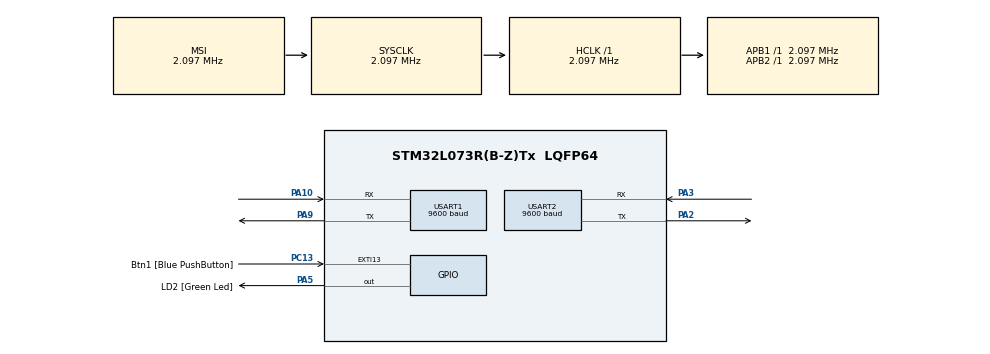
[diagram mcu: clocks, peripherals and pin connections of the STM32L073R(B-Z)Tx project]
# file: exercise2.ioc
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Mcu.Family=STM32L0
Mcu.Name=STM32L073R(B-Z)Tx
Mcu.Package=LQFP64
NVIC.EXTI4_15_IRQn=true\:0\:0\:false\:false\:true\:true
NVIC.USART1_IRQn=true\:0\:0\:false\:false\:true\:true
NVIC.USART2_IRQn=true\:0\:0\:false\:false\:true\:true
PA10.Mode=Asynchronous
PA10.Signal=USART1_RX
PA13.Mode=Serial_Wire
PA13.Signal=SYS_SWDIO
PA14.Mode=Serial_Wire
PA14.Signal=SYS_SWCLK
PA2.Mode=Asynchronous
PA2.Signal=USART2_TX
PA3.Mode=Asynchronous
PA3.Signal=USART2_RX
PA5.GPIO_Label=LD2 [Green Led]
PA5.Signal=GPIO_Output
PA9.Mode=Asynchronous
PA9.Signal=USART1_TX
PC13.GPIO_Label=Btn1 [Blue PushButton]
PC13.Signal=GPXTI13
PH0-OSC_IN.Mode=HSE-External-Oscillator
PH0-OSC_IN.Signal=RCC_OSC_IN
PH1-OSC_OUT.Mode=HSE-External-Oscillator
PH1-OSC_OUT.Signal=RCC_OSC_OUT
ProjectManager.HeapSize=0x200
ProjectManager.StackSize=0x400
ProjectManager.TargetToolchain=MDK-ARM V5
RCC.AHBFreq_Value=2097000
RCC.APB1Freq_Value=2097000
RCC.APB1TimFreq_Value=2097000
RCC.APB2Freq_Value=2097000
RCC.APB2TimFreq_Value=2097000
RCC.HCLKFreq_Value=2097000
RCC.HSE_VALUE=8000000
RCC.HSI16_VALUE=16000000
RCC.HSI48_VALUE=48000000
RCC.HSI_VALUE=16000000
RCC.LSE_VALUE=32768
RCC.MSI_VALUE=2097000
RCC.PLLDIV=RCC_PLLDIV_3
RCC.PLLSourceVirtual=RCC_PLLSOURCE_HSE
RCC.SYSCLKFreq_VALUE=2097000
RCC.VCOOutputFreq_Value=24000000
USART1.BaudRate=9600
USART1.VirtualMode-Asynchronous=VM_ASYNC
USART1.WordLength=WORDLENGTH_8B
USART2.BaudRate=9600
USART2.VirtualMode-Asynchronous=VM_ASYNC
USART2.WordLength=WORDLENGTH_8B
board=NUCLEO-L073RZ

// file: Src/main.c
/**
  ******************************************************************************
  * @file           : main.c
  * @brief          : Main program body
  ******************************************************************************
  ** This notice applies to any and all portions of this file
  * that are not between comment pairs USER CODE BEGIN and
  * USER CODE END. Other portions of this file, whether
  * inserted by the user or by software development tools
  * are owned by their respective copyright owners.
  *
  * COPYRIGHT(c) 2018 STMicroelectronics
  *
  * Redistribution and use in source and binary forms, with or without modification,
  * are permitted provided that the following conditions are met:
  *   1. Redistributions of source code must retain the above copyright notice,
  *      this list of conditions and the following disclaimer.
  *   2. Redistributions in binary form must reproduce the above copyright notice,
  *      this list of conditions and the following disclaimer in the documentation
  *      and/or other materials provided with the distribution.
  *   3. Neither the name of STMicroelectronics nor the names of its contributors
  *      may be used to endorse or promote products derived from this software
  *      without specific prior written permission.
  *
  * THIS SOFTWARE IS PROVIDED BY THE COPYRIGHT HOLDERS AND CONTRIBUTORS "AS IS"
  * AND ANY EXPRESS OR IMPLIED WARRANTIES, INCLUDING, BUT NOT LIMITED TO, THE
  * IMPLIED WARRANTIES OF MERCHANTABILITY AND FITNESS FOR A PARTICULAR PURPOSE ARE
  * DISCLAIMED. IN NO EVENT SHALL THE COPYRIGHT HOLDER OR CONTRIBUTORS BE LIABLE
  * FOR ANY DIRECT, INDIRECT, INCIDENTAL, SPECIAL, EXEMPLARY, OR CONSEQUENTIAL
  * DAMAGES (INCLUDING, BUT NOT LIMITED TO, PROCUREMENT OF SUBSTITUTE GOODS OR
  * SERVICES; LOSS OF USE, DATA, OR PROFITS; OR BUSINESS INTERRUPTION) HOWEVER
  * CAUSED AND ON ANY THEORY OF LIABILITY, WHETHER IN CONTRACT, STRICT LIABILITY,
  * OR TORT (INCLUDING NEGLIGENCE OR OTHERWISE) ARISING IN ANY WAY OUT OF THE USE
  * OF THIS SOFTWARE, EVEN IF ADVISED OF THE POSSIBILITY OF SUCH DAMAGE.
  *
  ******************************************************************************
  */
#include "main.h"
#include "stm32l0xx_hal.h"

UART_HandleTypeDef huart1;
UART_HandleTypeDef huart2;

/* USER CODE BEGIN PV */
/* Private variables ---------------------------------------------------------*/
static __IO ITStatus GPIO_Btn1_Pin_Pressed = RESET;               /* Set to 1 if GPIO Btn1_Pin pressed */
int LED_pattern = 0;

/* Buffer used for UART transmission */
uint8_t UART_txBuffer[] = "HELLO THERE";  //{1, 2, 3, 4, 5};

/* Buffer used for UART reception */
uint8_t UART_rxBuffer[UART_RXBUFFERSIZE];

static __IO ITStatus UART_txCompleteDetected = RESET;       /* Set to 1 if UART TX is completed */
static __IO ITStatus UART_rxCompleteDetected = RESET;       /* Set to 1 if UART RX is completed */
static __IO ITStatus UART_transErrorDetected = RESET;       /* Set to 1 if a UART error TX,RX is detected */

/* USER CODE END PV */

void SystemClock_Config(void);
static void MX_GPIO_Init(void);
static void MX_USART1_UART_Init(void);
static void MX_USART2_UART_Init(void);

/* USER CODE BEGIN PFP */
/* Private function prototypes -----------------------------------------------*/

/* USER CODE END PFP */

int main(void)
{

  /* MCU Configuration----------------------------------------------------------*/

  /* Reset of all peripherals, Initializes the Flash interface and the Systick. */
  HAL_Init();

  /* Configure the system clock */
  SystemClock_Config();

  /* Initialize all configured peripherals */
  MX_GPIO_Init();
  MX_USART1_UART_Init();
  MX_USART2_UART_Init();

  /* Infinite loop */
  /* USER CODE BEGIN WHILE */
  while (1)
  {
	  if (GPIO_Btn1_Pin_Pressed == SET)
	  {
		  GPIO_Btn1_Pin_Pressed = RESET;
		  HAL_GPIO_WritePin(LD2_GPIO_Port, LD2_Pin, GPIO_PIN_SET);
		  HAL_Delay(100);

		  /* While the UART in reception process, user can transmit data through "UART_txBuffer" buffer */
//		  if(HAL_UART_Transmit_IT(&huart1, (uint8_t*) UART_txBuffer, UART_TXBUFFERSIZE) != HAL_OK)
//		  {
//			  Error_Handler();
//		  }
//		  /*## Wait for the end of the TX transfer ##*/
//		  while (UART_txCompleteDetected != SET)
//		  {
//			  HAL_GPIO_TogglePin(LD2_GPIO_Port, LD2_Pin);
//			  HAL_Delay(100);
//			  HAL_GPIO_TogglePin(LD2_GPIO_Port, LD2_Pin);
//			  HAL_Delay(100);
//		  }
//		  UART_txCompleteDetected = RESET;

		  if(HAL_UART_Transmit_IT(&huart2, (uint8_t*) UART_txBuffer, UART_TXBUFFERSIZE) != HAL_OK)
		  {
			  Error_Handler();
		  }
		  /*## Wait for the end of the TX transfer ##*/
		  while (UART_txCompleteDetected != SET)
		  {
			  HAL_GPIO_TogglePin(LD2_GPIO_Port, LD2_Pin);
			  HAL_Delay(100);
			  HAL_GPIO_TogglePin(LD2_GPIO_Port, LD2_Pin);
			  HAL_Delay(100);
		  }
		  UART_txCompleteDetected = RESET;

		  HAL_GPIO_WritePin(LD2_GPIO_Port, LD2_Pin, GPIO_PIN_RESET);
	  }

  /* USER CODE END WHILE */

  }

}

void SystemClock_Config(void)
{

  RCC_OscInitTypeDef RCC_OscInitStruct;
  RCC_ClkInitTypeDef RCC_ClkInitStruct;
  RCC_PeriphCLKInitTypeDef PeriphClkInit;

    /**Configure the main internal regulator output voltage
    */
  __HAL_PWR_VOLTAGESCALING_CONFIG(PWR_REGULATOR_VOLTAGE_SCALE1);

    /**Initializes the CPU, AHB and APB busses clocks
    */
  RCC_OscInitStruct.OscillatorType = RCC_OSCILLATORTYPE_MSI;
  RCC_OscInitStruct.MSIState = RCC_MSI_ON;
  RCC_OscInitStruct.MSICalibrationValue = 0;
  RCC_OscInitStruct.MSIClockRange = RCC_MSIRANGE_5;
  RCC_OscInitStruct.PLL.PLLState = RCC_PLL_NONE;
  if (HAL_RCC_OscConfig(&RCC_OscInitStruct) != HAL_OK)
  {
    _Error_Handler(__FILE__, __LINE__);
  }

    /**Initializes the CPU, AHB and APB busses clocks
    */
  RCC_ClkInitStruct.ClockType = RCC_CLOCKTYPE_HCLK|RCC_CLOCKTYPE_SYSCLK
                              |RCC_CLOCKTYPE_PCLK1|RCC_CLOCKTYPE_PCLK2;
  RCC_ClkInitStruct.SYSCLKSource = RCC_SYSCLKSOURCE_MSI;
  RCC_ClkInitStruct.AHBCLKDivider = RCC_SYSCLK_DIV1;
  RCC_ClkInitStruct.APB1CLKDivider = RCC_HCLK_DIV1;
  RCC_ClkInitStruct.APB2CLKDivider = RCC_HCLK_DIV1;

  if (HAL_RCC_ClockConfig(&RCC_ClkInitStruct, FLASH_LATENCY_0) != HAL_OK)
  {
    _Error_Handler(__FILE__, __LINE__);
  }

  PeriphClkInit.PeriphClockSelection = RCC_PERIPHCLK_USART1|RCC_PERIPHCLK_USART2;
  PeriphClkInit.Usart1ClockSelection = RCC_USART1CLKSOURCE_PCLK2;
  PeriphClkInit.Usart2ClockSelection = RCC_USART2CLKSOURCE_PCLK1;
  if (HAL_RCCEx_PeriphCLKConfig(&PeriphClkInit) != HAL_OK)
  {
    _Error_Handler(__FILE__, __LINE__);
  }

    /**Configure the Systick interrupt time
    */
  HAL_SYSTICK_Config(HAL_RCC_GetHCLKFreq()/1000);

    /**Configure the Systick
    */
  HAL_SYSTICK_CLKSourceConfig(SYSTICK_CLKSOURCE_HCLK);

  /* SysTick_IRQn interrupt configuration */
  HAL_NVIC_SetPriority(SysTick_IRQn, 0, 0);
}

/* USART1 init function */
static void MX_USART1_UART_Init(void)
{

  huart1.Instance = USART1;
  huart1.Init.BaudRate = 9600;
  huart1.Init.WordLength = UART_WORDLENGTH_8B;
  huart1.Init.StopBits = UART_STOPBITS_1;
  huart1.Init.Parity = UART_PARITY_NONE;
  huart1.Init.Mode = UART_MODE_TX_RX;
  huart1.Init.HwFlowCtl = UART_HWCONTROL_NONE;
  huart1.Init.OverSampling = UART_OVERSAMPLING_16;
  huart1.Init.OneBitSampling = UART_ONE_BIT_SAMPLE_DISABLE;
  huart1.AdvancedInit.AdvFeatureInit = UART_ADVFEATURE_NO_INIT;
  if (HAL_UART_Init(&huart1) != HAL_OK)
  {
    _Error_Handler(__FILE__, __LINE__);
  }

}

/* USART2 init function */
static void MX_USART2_UART_Init(void)
{

  huart2.Instance = USART2;
  huart2.Init.BaudRate = 9600;
  huart2.Init.WordLength = UART_WORDLENGTH_8B;
  huart2.Init.StopBits = UART_STOPBITS_1;
  huart2.Init.Parity = UART_PARITY_NONE;
  huart2.Init.Mode = UART_MODE_TX_RX;
  huart2.Init.HwFlowCtl = UART_HWCONTROL_NONE;
  huart2.Init.OverSampling = UART_OVERSAMPLING_16;
  huart2.Init.OneBitSampling = UART_ONE_BIT_SAMPLE_DISABLE;
  huart2.AdvancedInit.AdvFeatureInit = UART_ADVFEATURE_NO_INIT;
  if (HAL_UART_Init(&huart2) != HAL_OK)
  {
    _Error_Handler(__FILE__, __LINE__);
  }

}

/** Configure pins as
        * Analog
        * Input
        * Output
        * EVENT_OUT
        * EXTI
        * Free pins are configured automatically as Analog (this feature is enabled through
        * the Code Generation settings)
*/
static void MX_GPIO_Init(void)
{

  GPIO_InitTypeDef GPIO_InitStruct;

  /* GPIO Ports Clock Enable */
  __HAL_RCC_GPIOC_CLK_ENABLE();
  __HAL_RCC_GPIOH_CLK_ENABLE();
  __HAL_RCC_GPIOA_CLK_ENABLE();
  __HAL_RCC_GPIOB_CLK_ENABLE();
  __HAL_RCC_GPIOD_CLK_ENABLE();

  /*Configure GPIO pin Output Level */
  HAL_GPIO_WritePin(LD2_GPIO_Port, LD2_Pin, GPIO_PIN_RESET);

  /*Configure GPIO pin : Btn1_Pin */
  GPIO_InitStruct.Pin = Btn1_Pin;
  GPIO_InitStruct.Mode = GPIO_MODE_IT_RISING;
  GPIO_InitStruct.Pull = GPIO_NOPULL;
  HAL_GPIO_Init(Btn1_GPIO_Port, &GPIO_InitStruct);

  /*Configure GPIO pins : PC14 PC15 PC0 PC1
                           PC2 PC3 PC4 PC5
                           PC6 PC7 PC8 PC9
                           PC10 PC11 PC12 */
  GPIO_InitStruct.Pin = GPIO_PIN_14|GPIO_PIN_15|GPIO_PIN_0|GPIO_PIN_1
                          |GPIO_PIN_2|GPIO_PIN_3|GPIO_PIN_4|GPIO_PIN_5
                          |GPIO_PIN_6|GPIO_PIN_7|GPIO_PIN_8|GPIO_PIN_9
                          |GPIO_PIN_10|GPIO_PIN_11|GPIO_PIN_12;
  GPIO_InitStruct.Mode = GPIO_MODE_ANALOG;
  GPIO_InitStruct.Pull = GPIO_NOPULL;
  HAL_GPIO_Init(GPIOC, &GPIO_InitStruct);

  /*Configure GPIO pins : PA0 PA1 PA4 PA6
                           PA7 PA8 PA11 PA12
                           PA15 */
  GPIO_InitStruct.Pin = GPIO_PIN_0|GPIO_PIN_1|GPIO_PIN_4|GPIO_PIN_6
                          |GPIO_PIN_7|GPIO_PIN_8|GPIO_PIN_11|GPIO_PIN_12
                          |GPIO_PIN_15;
  GPIO_InitStruct.Mode = GPIO_MODE_ANALOG;
  GPIO_InitStruct.Pull = GPIO_NOPULL;
  HAL_GPIO_Init(GPIOA, &GPIO_InitStruct);

  /*Configure GPIO pin : LD2_Pin */
  GPIO_InitStruct.Pin = LD2_Pin;
  GPIO_InitStruct.Mode = GPIO_MODE_OUTPUT_PP;
  GPIO_InitStruct.Pull = GPIO_NOPULL;
  GPIO_InitStruct.Speed = GPIO_SPEED_FREQ_LOW;
  HAL_GPIO_Init(LD2_GPIO_Port, &GPIO_InitStruct);

  /*Configure GPIO pins : PB0 PB1 PB2 PB10
                           PB11 PB12 PB13 PB14
                           PB15 PB3 PB4 PB5
                           PB6 PB7 PB8 PB9 */
  GPIO_InitStruct.Pin = GPIO_PIN_0|GPIO_PIN_1|GPIO_PIN_2|GPIO_PIN_10
                          |GPIO_PIN_11|GPIO_PIN_12|GPIO_PIN_13|GPIO_PIN_14
                          |GPIO_PIN_15|GPIO_PIN_3|GPIO_PIN_4|GPIO_PIN_5
                          |GPIO_PIN_6|GPIO_PIN_7|GPIO_PIN_8|GPIO_PIN_9;
  GPIO_InitStruct.Mode = GPIO_MODE_ANALOG;
  GPIO_InitStruct.Pull = GPIO_NOPULL;
  HAL_GPIO_Init(GPIOB, &GPIO_InitStruct);

  /*Configure GPIO pin : PD2 */
  GPIO_InitStruct.Pin = GPIO_PIN_2;
  GPIO_InitStruct.Mode = GPIO_MODE_ANALOG;
  GPIO_InitStruct.Pull = GPIO_NOPULL;
  HAL_GPIO_Init(GPIOD, &GPIO_InitStruct);

  /* EXTI interrupt init*/
  HAL_NVIC_SetPriority(EXTI4_15_IRQn, 0, 0);
  HAL_NVIC_EnableIRQ(EXTI4_15_IRQn);

}

/* USER CODE BEGIN 4 */

/**
  * @brief  EXTI line detection callbacks.
  * @param  GPIO_Pin: Specifies the pins connected to the EXTI line.
  * @retval None
  */
void HAL_GPIO_EXTI_Callback(uint16_t GPIO_Pin)
{
  GPIO_Btn1_Pin_Pressed = SET;
}

/********************************** UART **********************************/
/**
  * @brief Tx Transfer completed callback.
  * @param huart: UART handle.
  * @retval None
  */
void HAL_UART_TxCpltCallback(UART_HandleTypeDef *huart)
{
  UART_txCompleteDetected = SET;
}

/**
  * @brief Rx Transfer completed callback.
  * @param huart: UART handle.
  * @retval None
  */
void HAL_UART_RxCpltCallback(UART_HandleTypeDef *huart)
{
  UART_rxCompleteDetected = SET;
}

/**
  * @brief UART error callback.
  * @param huart: UART handle.
  * @retval None
  */
void HAL_UART_ErrorCallback(UART_HandleTypeDef *huart)
{
  UART_transErrorDetected = SET;
}

/* USER CODE END 4 */

void _Error_Handler(char *file, int line)
{
  while(1)
  {
  }
}

/************************ (C) COPYRIGHT STMicroelectronics *****END OF FILE****/
